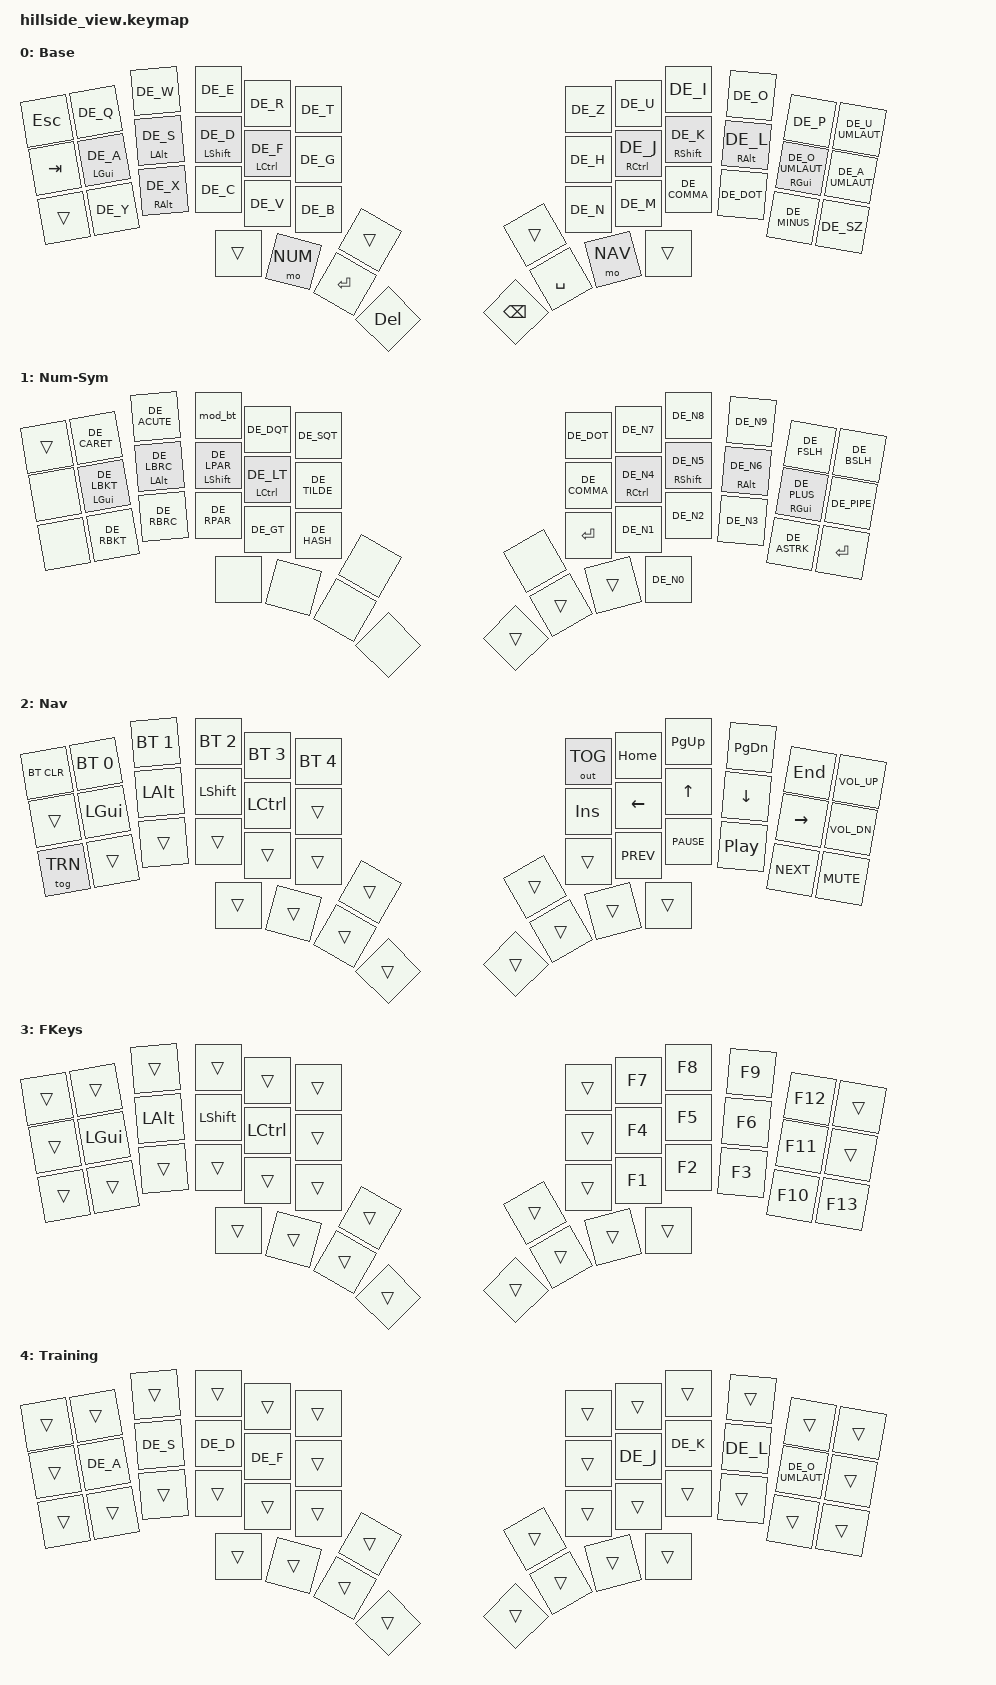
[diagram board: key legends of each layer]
#include <behaviors.dtsi>
#include <behaviors/unicode.dtsi>
#include <dt-bindings/zmk/bt.h>
#include <dt-bindings/zmk/keys.h>
#include <dt-bindings/zmk/outputs.h>
#include <locale/keys_de.h>

#define DEF 0
#define NUM 1
#define NAV 2
#define SYM 3
#define TRN 4

#define KEYS_L  0  1  2  3  4  5  12 13 14 15 16 17  24 25 26 27 28 29
#define KEYS_R  6  7  8  9  10 11  18 19 20 21 22 23  30 31 32 33 34 35
#define THUMBS  36 37 38 39 40 41 42 43 44 45

&uc {
    default-mode = <UC_MODE_WIN_COMPOSE>;
    win-compose-key = <F13>;
};

/ {
    macros {
        bktk: backtick {
            compatible = "zmk,behavior-macro";
            #binding-cells = <0>;
            wait-ms = <10>;
            tap-ms = <10>;
            bindings
                = <&macro_press &kp LSHFT>
                , <&macro_tap &kp DE_ACUTE>
                , <&macro_release &kp LSHFT>
                , <&macro_tap &kp SPACE>
                ;
        };

        tbtk: triple_backtick {
            compatible = "zmk,behavior-macro";
            #binding-cells = <0>;
            wait-ms = <10>;
            tap-ms = <10>;
            bindings = <&macro_tap &kp DE_ACUTE &kp DE_ACUTE &kp DE_ACUTE &kp SPACE>;
        };

    };

    behaviors {
        mod_bt: mod_morph_backtick {
            compatible = "zmk,behavior-mod-morph";
            #binding-cells = <0>;
            bindings = <&bktk>, <&tbtk>;
            mods = <(MOD_LSFT|MOD_RSFT)>;
            keep-mods = <(MOD_LSFT|MOD_RSFT)>;
        };

        hml: home_row_mod_left {
            compatible = "zmk,behavior-hold-tap";
            #binding-cells = <2>;
            flavor = "balanced";
            tapping-term-ms = <280>;
            quick-tap-ms = <175>;
            require-prior-idle-ms = <150>;
            bindings = <&kp>, <&kp>;
            hold-trigger-key-positions = <KEYS_R THUMBS>;
            hold-trigger-on-release;
        };

        hmr: home_row_mod_right {
            compatible = "zmk,behavior-hold-tap";
            #binding-cells = <2>;
            flavor = "balanced";
            tapping-term-ms = <280>;
            quick-tap-ms = <175>;
            require-prior-idle-ms = <150>;
            bindings = <&kp>, <&kp>;
            hold-trigger-key-positions = <KEYS_L THUMBS>;
            hold-trigger-on-release;
        };
    };

    combos {
        compatible = "zmk,combos";

        combo_cut {
            timeout-ms = <35>;
            key-positions = <4 5>;
            layers = <DEF>;
            bindings = <&kp LC(X)>;
            slow-release;
        };

        combo_copy {
            timeout-ms = <35>;
            key-positions = <16 17>;
            layers = <DEF>;
            bindings = <&kp LC(C)>;
            slow-release;
        };

        combo_paste {
            timeout-ms = <35>;
            key-positions = <28 29>;
            layers = <DEF>;
            bindings = <&kp LC(V)>;
            slow-release;
        };

        combo_undo {
            timeout-ms = <35>;
            key-positions = <6 7>;
            layers = <DEF>;
            bindings = <&kp LC(DE_Z)>;
            slow-release;
        };

        combo_redo {
            timeout-ms = <35>;
            key-positions = <18 19>;
            layers = <DEF>;
            bindings = <&kp LC(DE_Y)>;
            slow-release;
        };

        combo_num_lock {
            timeout-ms = <35>;
            key-positions = <39 40>;
            layers = <DEF NUM>;
            bindings = <&tog NUM>;
        };

        combo_grimacing {
            timeout-ms = <35>;
            key-positions = <17 29>;
            layers = <DEF>;
            bindings = <&uc 0x1F62C 0>;
        };

        combo_grinning {
            timeout-ms = <35>;
            key-positions = <5 17>;
            layers = <DEF>;
            bindings = <&uc 0x1F600 0>;
        };

        combo_peeking_eye {
            timeout-ms = <35>;
            key-positions = <4 16>;
            layers = <DEF>;
            bindings = <&uc 0x1FAE3 0>;
        };

        combo_sweat_smile {
            timeout-ms = <35>;
            key-positions = <16 28>;
            layers = <DEF>;
            bindings = <&uc 0x1F605 0>;
        };

        combo_grin {
            timeout-ms = <35>;
            key-positions = <15 27>;
            layers = <DEF>;
            bindings = <&uc 0x1F601 0>;
        };
    };

    conditional_layers {
        compatible = "zmk,conditional-layers";

        tri_layer {
            if-layers = <NUM NAV>;
            then-layer = <SYM>;
        };
    };

    keymap {
        compatible = "zmk,keymap";

        Base {
            display-name = "Base";
            bindings = <
&kp ESCAPE  &kp DE_Q            &kp DE_W           &kp DE_E            &kp DE_R           &kp DE_T                                                                     &kp DE_Z       &kp DE_U            &kp DE_I             &kp DE_O           &kp DE_P               &kp DE_U_UMLAUT
&kp TAB     &hml LGUI DE_A      &hml LALT DE_S     &hml LSHFT DE_D     &hml LCTRL DE_F    &kp DE_G                                                                     &kp DE_H       &hmr RCTRL DE_J     &hmr RSHFT DE_K      &hmr RALT DE_L     &hmr RGUI DE_O_UMLAUT  &kp DE_A_UMLAUT
&trans      &kp DE_Y            &hml RALT DE_X           &kp DE_C            &kp DE_V           &kp DE_B                                                                     &kp DE_N       &kp DE_M            &kp DE_COMMA         &kp DE_DOT         &kp DE_MINUS           &kp DE_SZ
            &trans              &trans             &trans              &mo NUM            &kp RETURN        &kp DELETE          &kp BACKSPACE  &kp SPACE                  &mo NAV        &trans
            >;
        };

        Num-Sym {
            display-name = "Num-Sym";
            bindings = <
&trans  &kp DE_CARET  &kp DE_ACUTE   &mod_bt        &kp DE_DQT  &kp DE_SQT                                                       &kp DE_DOT              &kp DE_N7          &kp DE_N8          &kp DE_N9          &kp DE_FSLH            &kp DE_BSLH
&none         &hml LGUI DE_LBKT   &hml LALT DE_LBRC  &hml LSHFT DE_LPAR  &hml LCTRL DE_LT &kp DE_TILDE                                            &kp DE_COMMA              &hmr RCTRL DE_N4   &hmr RSHFT DE_N5   &hmr RALT DE_N6    &hmr RGUI DE_PLUS      &kp DE_PIPE
&none         &kp DE_RBKT   &kp DE_RBRC   &kp DE_RPAR   &kp DE_GT     &kp DE_HASH                                                               &kp RETURN               &kp DE_N1          &kp DE_N2          &kp DE_N3          &kp DE_ASTRK           &kp RETURN
              &none         &none         &none         &none         &none             &none              &trans     &trans       &trans                &kp DE_N0
            >;
        };

        Nav {
            display-name = "Nav";
            bindings = <
&bt BT_CLR  &bt BT_SEL 0  &bt BT_SEL 1  &bt BT_SEL 2  &bt BT_SEL 3  &bt BT_SEL 4                                                        &out OUT_TOG  &kp HOME    &kp PG_UP   &kp PG_DN   &kp END      &kp C_VOL_UP
&trans      &kp LGUI      &kp LALT      &kp LSHFT     &kp LCTRL     &trans                                                              &kp INS     &kp LEFT    &kp UP      &kp DOWN    &kp RIGHT    &kp C_VOL_DN
&tog TRN    &trans        &trans        &trans        &trans        &trans                                                              &trans        &kp C_PREV  &kp C_PAUSE &kp C_PP    &kp C_NEXT   &kp C_MUTE
            &trans        &trans        &trans        &trans        &trans            &trans             &trans         &trans            &trans        &trans
            >;
        };

        FKeys {
            display-name = "FKeys";
            bindings = <
&trans  &trans     &trans     &trans      &trans     &trans                                                          &trans  &kp F7  &kp F8  &kp F9  &kp F12  &trans
&trans  &kp LGUI   &kp LALT   &kp LSHFT   &kp LCTRL  &trans                                                          &trans  &kp F4  &kp F5  &kp F6  &kp F11  &trans
&trans  &trans  &trans  &trans  &trans  &trans                                                          &trans  &kp F1  &kp F2  &kp F3  &kp F10  &kp F13
        &trans  &trans  &trans  &trans  &trans          &trans             &trans         &trans         &trans  &trans
            >;
        };

        Training {
            display-name = "Training";
            bindings = <
&trans  &trans       &trans       &trans       &trans       &trans                                                          &trans  &trans       &trans        &trans       &trans              &trans
&trans  &kp DE_A     &kp DE_S     &kp DE_D     &kp DE_F     &trans                                                          &trans  &kp DE_J     &kp DE_K      &kp DE_L     &kp DE_O_UMLAUT     &trans
&trans  &trans       &trans       &trans       &trans       &trans                                                          &trans  &trans       &trans        &trans       &trans              &trans
        &trans       &trans       &trans       &trans       &trans          &trans             &trans         &trans         &trans  &trans
            >;
        };
    };
};
